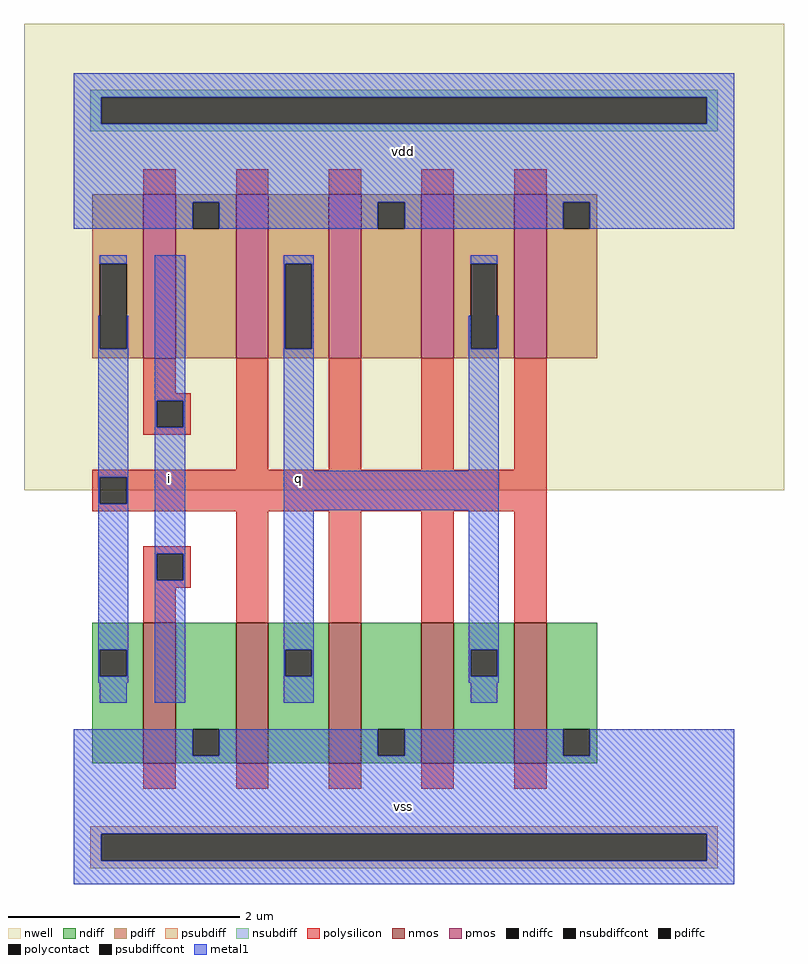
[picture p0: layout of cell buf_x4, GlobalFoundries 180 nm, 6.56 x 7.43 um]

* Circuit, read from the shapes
.subckt buf_x4 vdd vss i q
XM1 vss i n1 vss nfet_03v3 w=1.215u l=0.28u
XM2 q n1 vss vss nfet_03v3 w=1.215u l=0.28u m=4
XM3 vdd i n1 vdd pfet_03v3 w=1.415u l=0.28u
XM4 q n1 vdd vdd pfet_03v3 w=1.415u l=0.28u m=4
.ends

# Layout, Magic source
magic
tech gf180mcuD
magscale 1 10
<< nwell >>
rect -86 680 1226 1486
<< nmos >>
rect 120 209 176 452
rect 280 209 336 452
rect 440 209 496 452
rect 600 209 656 452
rect 760 209 816 452
<< pmos >>
rect 120 908 176 1191
rect 280 908 336 1191
rect 440 908 496 1191
rect 600 908 656 1191
rect 760 908 816 1191
<< ndiff >>
rect 32 405 120 452
rect 32 359 45 405
rect 91 359 120 405
rect 32 209 120 359
rect 176 268 280 452
rect 176 222 205 268
rect 251 222 280 268
rect 176 209 280 222
rect 336 405 440 452
rect 336 359 365 405
rect 411 359 440 405
rect 336 209 440 359
rect 496 268 600 452
rect 496 222 525 268
rect 571 222 600 268
rect 496 209 600 222
rect 656 405 760 452
rect 656 359 685 405
rect 731 359 760 405
rect 656 209 760 359
rect 816 268 904 452
rect 816 222 845 268
rect 891 222 904 268
rect 816 209 904 222
<< pdiff >>
rect 32 1071 120 1191
rect 32 925 45 1071
rect 91 925 120 1071
rect 32 908 120 925
rect 176 1178 280 1191
rect 176 1132 205 1178
rect 251 1132 280 1178
rect 176 908 280 1132
rect 336 1071 440 1191
rect 336 925 365 1071
rect 411 925 440 1071
rect 336 908 440 925
rect 496 1178 600 1191
rect 496 1132 525 1178
rect 571 1132 600 1178
rect 496 908 600 1132
rect 656 1071 760 1191
rect 656 925 685 1071
rect 731 925 760 1071
rect 656 908 760 925
rect 816 1178 904 1191
rect 816 1132 845 1178
rect 891 1132 904 1178
rect 816 908 904 1132
<< ndiffc >>
rect 45 359 91 405
rect 205 222 251 268
rect 365 359 411 405
rect 525 222 571 268
rect 685 359 731 405
rect 845 222 891 268
<< pdiffc >>
rect 45 925 91 1071
rect 205 1132 251 1178
rect 365 925 411 1071
rect 525 1132 571 1178
rect 685 925 731 1071
rect 845 1132 891 1178
<< psubdiff >>
rect 28 87 1112 100
rect 28 41 47 87
rect 1093 41 1112 87
rect 28 28 1112 41
<< nsubdiff >>
rect 28 1359 1112 1372
rect 28 1313 47 1359
rect 1093 1313 1112 1359
rect 28 1300 1112 1313
<< psubdiffcont >>
rect 47 41 1093 87
<< nsubdiffcont >>
rect 47 1313 1093 1359
<< polysilicon >>
rect 120 1191 176 1235
rect 280 1191 336 1235
rect 440 1191 496 1235
rect 600 1191 656 1235
rect 760 1191 816 1235
rect 120 848 176 908
rect 120 835 202 848
rect 120 789 143 835
rect 189 789 202 835
rect 120 776 202 789
rect 280 716 336 908
rect 440 716 496 908
rect 600 716 656 908
rect 760 716 816 908
rect 32 703 816 716
rect 32 657 45 703
rect 91 657 816 703
rect 32 644 816 657
rect 120 571 202 584
rect 120 525 143 571
rect 189 525 202 571
rect 120 512 202 525
rect 120 452 176 512
rect 280 452 336 644
rect 440 452 496 644
rect 600 452 656 644
rect 760 452 816 644
rect 120 165 176 209
rect 280 165 336 209
rect 440 165 496 209
rect 600 165 656 209
rect 760 165 816 209
<< polycontact >>
rect 143 789 189 835
rect 45 657 91 703
rect 143 525 189 571
<< metal1 >>
rect 0 1359 1140 1400
rect 0 1313 47 1359
rect 1093 1313 1140 1359
rect 0 1178 1140 1313
rect 0 1132 205 1178
rect 251 1132 525 1178
rect 571 1132 845 1178
rect 891 1132 1140 1178
rect 45 1071 91 1086
rect 42 925 45 982
rect 91 925 94 982
rect 42 703 94 925
rect 42 657 45 703
rect 91 657 94 703
rect 42 405 94 657
rect 42 359 45 405
rect 91 359 94 405
rect 42 348 94 359
rect 140 835 192 1086
rect 140 789 143 835
rect 189 789 192 835
rect 140 571 192 789
rect 140 525 143 571
rect 189 525 192 571
rect 45 314 91 348
rect 140 314 192 525
rect 362 1071 414 1086
rect 362 925 365 1071
rect 411 925 414 1071
rect 685 1071 731 1086
rect 362 714 414 925
rect 682 925 685 982
rect 731 925 734 982
rect 682 714 734 925
rect 362 646 734 714
rect 362 405 414 646
rect 362 359 365 405
rect 411 359 414 405
rect 362 314 414 359
rect 682 405 734 646
rect 682 359 685 405
rect 731 359 734 405
rect 682 348 734 359
rect 685 314 731 348
rect 0 222 205 268
rect 251 222 525 268
rect 571 222 845 268
rect 891 222 1140 268
rect 0 87 1140 222
rect 0 41 47 87
rect 1093 41 1140 87
rect 0 0 1140 41
<< labels >>
rlabel metal1 s 0 1132 1140 1400 4 vdd
port 3 nsew
rlabel metal1 s 0 0 1140 268 4 vss
port 5 nsew
rlabel metal1 s 140 314 192 1086 4 i
port 7 nsew
rlabel metal1 s 362 314 414 1086 4 q
port 9 nsew
<< end >>
